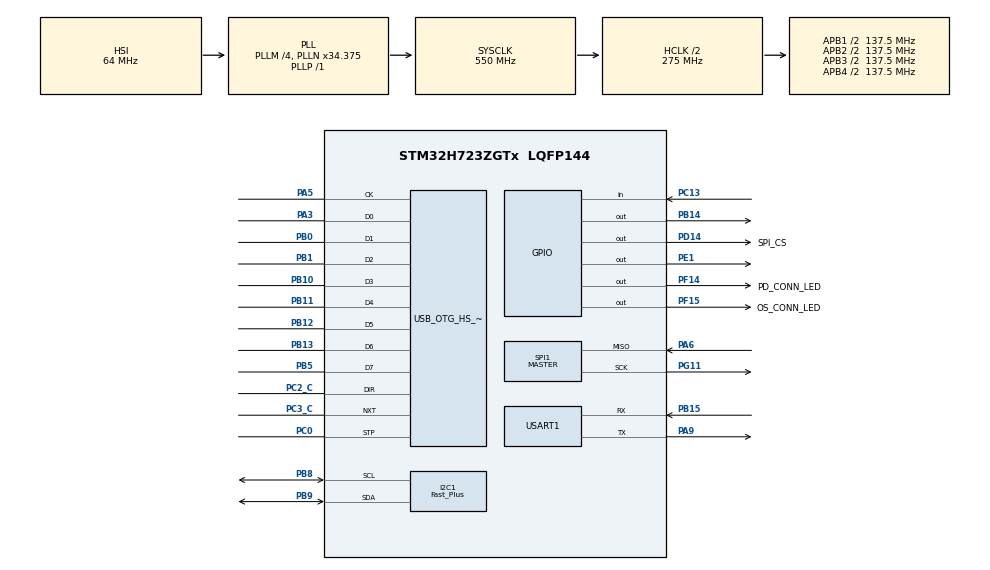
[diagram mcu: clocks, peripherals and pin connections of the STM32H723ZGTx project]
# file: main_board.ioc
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CORTEX_M7.default_mode_Activation=1
Dma.Request0=SPI1_RX
Dma.SPI1_RX.0.Direction=DMA_PERIPH_TO_MEMORY
Dma.SPI1_RX.0.EventEnable=DISABLE
Dma.SPI1_RX.0.FIFOMode=DMA_FIFOMODE_DISABLE
Dma.SPI1_RX.0.Instance=DMA1_Stream0
Dma.SPI1_RX.0.MemDataAlignment=DMA_MDATAALIGN_HALFWORD
Dma.SPI1_RX.0.MemInc=DMA_MINC_ENABLE
Dma.SPI1_RX.0.Mode=DMA_NORMAL
Dma.SPI1_RX.0.PeriphDataAlignment=DMA_PDATAALIGN_HALFWORD
Dma.SPI1_RX.0.PeriphInc=DMA_PINC_DISABLE
Dma.SPI1_RX.0.Polarity=HAL_DMAMUX_REQ_GEN_RISING
Dma.SPI1_RX.0.Priority=DMA_PRIORITY_VERY_HIGH
Dma.SPI1_RX.0.RequestNumber=1
Dma.SPI1_RX.0.SignalID=NONE
Dma.SPI1_RX.0.SyncEnable=DISABLE
Dma.SPI1_RX.0.SyncPolarity=HAL_DMAMUX_SYNC_NO_EVENT
Dma.SPI1_RX.0.SyncRequestNumber=1
Dma.SPI1_RX.0.SyncSignalID=NONE
FREERTOS.Tasks01=defaultTask,24,256,StartDefaultTask,Default,NULL,Dynamic,NULL,NULL
FREERTOS.configMINIMAL_STACK_SIZE=256
FREERTOS.configTOTAL_HEAP_SIZE=32768
FREERTOS.configUSE_NEWLIB_REENTRANT=1
I2C1.I2C_Speed_Mode=I2C_Fast_Plus
I2C1.NoStretchMode=I2C_NOSTRETCH_DISABLE
I2C1.Timing=0x00601A5C
Mcu.Family=STM32H7
Mcu.Name=STM32H723ZGTx
Mcu.Package=LQFP144
NUCLEO-H723ZG.BUTTON=1
NUCLEO-H723ZG.LD1=true
NUCLEO-H723ZG.LD2=true
NUCLEO-H723ZG.LD3=true
NUCLEO-H723ZG.VCP=true
NVIC.DMA1_Stream0_IRQn=true\:5\:0\:false\:false\:true\:true\:false\:true\:true
NVIC.EXTI15_10_IRQn=true\:5\:0\:false\:false\:true\:true\:false\:true\:true
NVIC.OTG_HS_IRQn=true\:5\:0\:false\:false\:true\:true\:true\:true\:true
NVIC.PriorityGroup=NVIC_PRIORITYGROUP_4
NVIC.SPI1_IRQn=true\:5\:0\:false\:false\:true\:true\:false\:true\:true
NVIC.TIM6_DAC_IRQn=true\:15\:0\:false\:false\:true\:false\:false\:true\:true
NVIC.TimeBase=TIM6_DAC_IRQn
NVIC.TimeBaseIP=TIM6
PA13(JTMS/SWDIO).GPIO_Label=SWDIO
PA13(JTMS/SWDIO).Signal=DEBUG_JTMS-SWDIO
PA14(JTCK/SWCLK).GPIO_Label=SWCLK
PA14(JTCK/SWCLK).Signal=DEBUG_JTCK-SWCLK
PA3.GPIO_Speed_Only_High=GPIO_SPEED_FREQ_VERY_HIGH
PA3.Mode=Device_HS
PA3.Signal=USB_OTG_HS_ULPI_D0
PA5.GPIO_Speed_Only_High=GPIO_SPEED_FREQ_VERY_HIGH
PA5.Mode=Device_HS
PA5.Signal=USB_OTG_HS_ULPI_CK
PA6.GPIO_Speed=GPIO_SPEED_FREQ_VERY_HIGH
PA6.Mode=RX_Only_Simplex_Unidirect_Master
PA6.Signal=SPI1_MISO
PA9.Mode=Asynchronous
PA9.Signal=USART1_TX
PB0.GPIO_Speed_Only_High=GPIO_SPEED_FREQ_VERY_HIGH
PB0.Mode=Device_HS
PB0.Signal=USB_OTG_HS_ULPI_D1
PB1.GPIO_Speed_Only_High=GPIO_SPEED_FREQ_VERY_HIGH
PB1.Mode=Device_HS
PB1.Signal=USB_OTG_HS_ULPI_D2
PB10.GPIO_Speed_Only_High=GPIO_SPEED_FREQ_VERY_HIGH
PB10.Mode=Device_HS
PB10.Signal=USB_OTG_HS_ULPI_D3
PB11.GPIO_Speed_Only_High=GPIO_SPEED_FREQ_VERY_HIGH
PB11.Mode=Device_HS
PB11.Signal=USB_OTG_HS_ULPI_D4
PB12.GPIO_Speed_Only_High=GPIO_SPEED_FREQ_VERY_HIGH
PB12.Mode=Device_HS
PB12.Signal=USB_OTG_HS_ULPI_D5
PB13.GPIO_Speed_Only_High=GPIO_SPEED_FREQ_VERY_HIGH
PB13.Mode=Device_HS
PB13.Signal=USB_OTG_HS_ULPI_D6
PB14.Signal=GPIO_Output
PB15.Mode=Asynchronous
PB15.Signal=USART1_RX
PB5.GPIO_Speed_Only_High=GPIO_SPEED_FREQ_VERY_HIGH
PB5.Mode=Device_HS
PB5.Signal=USB_OTG_HS_ULPI_D7
PB8.GPIO_Pu=GPIO_PULLUP
PB8.GPIO_Speed=GPIO_SPEED_FREQ_MEDIUM
PB8.Mode=I2C
PB8.Signal=I2C1_SCL
PB9.GPIO_Pu=GPIO_PULLUP
PB9.GPIO_Speed=GPIO_SPEED_FREQ_MEDIUM
PB9.Mode=I2C
PB9.Signal=I2C1_SDA
PC0.GPIO_Speed_Only_High=GPIO_SPEED_FREQ_VERY_HIGH
PC0.Mode=Device_HS
PC0.Signal=USB_OTG_HS_ULPI_STP
PC13.Signal=GPIO_Input
PC14-OSC32_IN.Signal=RCC_OSC32_IN
PC15-OSC32_OUT.Signal=RCC_OSC32_OUT
PC2_C.GPIO_Speed_Only_High=GPIO_SPEED_FREQ_VERY_HIGH
PC2_C.Mode=Device_HS
PC2_C.Signal=USB_OTG_HS_ULPI_DIR
PC3_C.GPIO_Speed_Only_High=GPIO_SPEED_FREQ_VERY_HIGH
PC3_C.Mode=Device_HS
PC3_C.Signal=USB_OTG_HS_ULPI_NXT
PD14.GPIO_Label=SPI_CS
PD14.GPIO_PuPd=GPIO_PULLUP
PD14.GPIO_Speed=GPIO_SPEED_FREQ_VERY_HIGH
PD14.PinState=GPIO_PIN_SET
PD14.Signal=GPIO_Output
PD8.Signal=USART3_TX
PD9.Signal=USART3_RX
PE1.Signal=GPIO_Output
PF14.GPIO_Label=PD_CONN_LED
PF14.Signal=GPIO_Output
PF15.GPIO_Label=OS_CONN_LED
PF15.Signal=GPIO_Output
PG11.GPIO_Speed=GPIO_SPEED_FREQ_VERY_HIGH
PG11.Mode=RX_Only_Simplex_Unidirect_Master
PG11.Signal=SPI1_SCK
ProjectManager.HeapSize=0x200
ProjectManager.StackSize=0x400
ProjectManager.TargetToolchain=STM32CubeIDE
RCC.ADCFreq_Value=608000000
RCC.APB1Freq_Value=137500000
RCC.APB2Freq_Value=137500000
RCC.APB3Freq_Value=137500000
RCC.APB4Freq_Value=137500000
RCC.CortexFreq_Value=550000000
RCC.D1PPRE=RCC_APB3_DIV2
RCC.D2PPRE1=RCC_APB1_DIV2
RCC.D2PPRE2=RCC_APB2_DIV2
RCC.D3PPRE=RCC_APB4_DIV2
RCC.DIVM1=4
RCC.DIVM2=1
RCC.DIVN1=34
RCC.DIVN2=19
RCC.DIVP1=1
RCC.DIVQ1=9
RCC.HCLKFreq_Value=275000000
RCC.HPRE=RCC_HCLK_DIV2
RCC.HSE_VALUE=8000000
RCC.PLLFRACN=3072
RCC.SYSCLKFreq_VALUE=550000000
RCC.SYSCLKSource=RCC_SYSCLKSOURCE_PLLCLK
RCC.USBCLockSelection=RCC_USBCLKSOURCE_HSI48
RCC.USBFreq_Value=48000000
SPI1.BaudRatePrescaler=SPI_BAUDRATEPRESCALER_2
SPI1.CLKPhase=SPI_PHASE_2EDGE
SPI1.CalculateBaudRate=30.555555 MBits/s
SPI1.DataSize=SPI_DATASIZE_16BIT
SPI1.Direction=SPI_DIRECTION_2LINES_RXONLY
SPI1.Mode=SPI_MODE_MASTER
SPI1.NSSPMode=SPI_NSS_PULSE_DISABLE
SPI1.VirtualType=VM_MASTER
USART1.VirtualMode-Asynchronous=VM_ASYNC
USB_OTG_HS.VirtualMode-Device_HS=Device_HS
VP_FREERTOS_VS_CMSIS_V2.Mode=CMSIS_V2
VP_MEMORYMAP_VS_MEMORYMAP.Mode=CurAppReg
VP_NUCLEO-H723ZG_VS_BSP_COMMON.Mode=COMMON
VP_SYS_VS_tim6.Mode=TIM6
board=NUCLEO-H723ZG

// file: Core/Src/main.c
/* USER CODE BEGIN Header */
/**
 ******************************************************************************
 * @file           : main.c
 * @brief          : Main program body
 ******************************************************************************
 * @attention
 *
 * Copyright (c) 2025 STMicroelectronics.
 * All rights reserved.
 *
 * This software is licensed under terms that can be found in the LICENSE file
 * in the root directory of this software component.
 * If no LICENSE file comes with this software, it is provided AS-IS.
 *
 ******************************************************************************
 */
/* USER CODE END Header */
#include "main.h"

#include "cmsis_os.h"

/* USER CODE BEGIN Includes */
#include <ctype.h>
#include <stdio.h>
#include <string.h>

#include "la_os_commands.h"
#include "packet.h"
#include "snap_master.h"
#include "snap_pd_master.h"
#include "snap_wf_master.h"
#include "tusb.h"
#include "wavetypes.h"
/* USER CODE END Includes */

/* USER CODE BEGIN PD */
#define CDC_MAIN 0
#define CDC_SIGROK 1

// Task stack sizes (in words, 4 bytes each)
#define USBD_STACK_SIZE (2048)
#define SUMP_STACK_SIZE (1024)
#define COMMAND_STACK_SIZE (1024)
/* USER CODE END PD */

COM_InitTypeDef bsp_com_init;

I2C_HandleTypeDef hi2c1;

SPI_HandleTypeDef hspi1;
DMA_HandleTypeDef hdma_spi1_rx;

UART_HandleTypeDef huart1;

PCD_HandleTypeDef hpcd_USB_OTG_HS;

/* Definitions for defaultTask */
osThreadId_t defaultTaskHandle;
const osThreadAttr_t defaultTask_attributes = {
    .name = "defaultTask",
    .stack_size = 256 * 4,
    .priority = (osPriority_t)osPriorityNormal,
};
/* USER CODE BEGIN PV */

osThreadId_t chunkTaskHandle;
osSemaphoreId_t chunkStartSemaphore;
osMutexId_t chunkRequestMutex;
osMutexId_t usb_flush_mutex;
osSemaphoreId_t processCommandSemaphore;

static volatile uint32_t num_chunks_requested = 0;
static volatile uint8_t chunk_task_running = 0;
static volatile uint8_t chunk_cdc_port = CDC_MAIN;
static volatile uint8_t chunk_cancel_requested = 0;
static volatile CommandCode chunk_command =
    COMMAND_OS_GET_CHUNK;  // track if scope or LA data requested

// FreeRTOS task handles
osThreadId_t usbTaskHandle;
osThreadId_t sumpTaskHandle;
osThreadId_t commandTaskHandle;

// Task attributes
const osThreadAttr_t usb_task_attributes = {
    .name = "usb_device",
    .stack_size = USBD_STACK_SIZE * 4,
    .priority = (osPriority_t)osPriorityRealtime7,
};

const osThreadAttr_t command_task_attributes = {
    .name = "command_handler",
    .stack_size = COMMAND_STACK_SIZE * 4,
    .priority = (osPriority_t)osPriorityHigh,
};

const osThreadAttr_t chunk_task_attr = {
    .name = "chunk_streamer",
    .stack_size = 1024 * 4,
    .priority = (osPriority_t)osPriorityAboveNormal,
};

// Mutexes for resource protection
osMutexId_t i2cMutexHandle;
osSemaphoreId_t spiSemaphoreHandle;

const osMutexAttr_t mutex_attributes = {
    .name = NULL,
    .attr_bits = osMutexRecursive | osMutexPrioInherit,
    .cb_mem = NULL,
    .cb_size = 0U};

#include "bsp/board_api.h"

size_t board_get_unique_id(uint8_t id[], size_t max_len) {
    (void)max_len;
    volatile uint32_t* stm32_uuid = (volatile uint32_t*)UID_BASE;
    uint32_t* id32 = (uint32_t*)(uintptr_t)id;
    uint8_t const len = 12;

    id32[0] = stm32_uuid[0];
    id32[1] = stm32_uuid[1];
    id32[2] = stm32_uuid[2];

    return len;
}

/* USER CODE END PV */

void SystemClock_Config(void);
static void MPU_Config(void);
static void MX_GPIO_Init(void);
static void MX_DMA_Init(void);
static void MX_USART1_UART_Init(void);
static void MX_I2C1_Init(void);
static void MX_SPI1_Init(void);
static void MX_USB_OTG_HS_PCD_Init(void);
void StartDefaultTask(void* argument);

/* USER CODE BEGIN PFP */
// FreeRTOS task functions
void usb_device_task(void* param);
void command_handler_task(void* param);

int send_example_waveform(enum WaveformType type);
/* USER CODE END PFP */

/* USER CODE BEGIN 0 */

// Invoked when device is mounted
void tud_mount_cb(void) {
    // Device mounted
}

// Invoked when device is unmounted
void tud_umount_cb(void) {
    // Device unmounted
}

// Invoked when usb bus is suspended
void tud_suspend_cb(bool remote_wakeup_en) {
    (void)remote_wakeup_en;
    // Device suspended
}

// Invoked when usb bus is resumed
void tud_resume_cb(void) {
    // Device resumed
}

struct GetChunkResponse {
    uint32_t chunk_number;  // Sequential chunk ID
    uint32_t samples_available;
    uint32_t missed_chunks;
};

uint8_t sample_buffer[SAMPLE_BUF_SIZE] __attribute__((section(".sram_d1"))) = {0};

/**
 * @brief Send OK response with optional payload data
 * @param cdc_interface: CDC interface number (CDC_MAIN or CDC_LOGIC)
 * @param data: Optional payload data (can be NULL if len is 0)
 * @param len: Length of payload data (0-255)
 */
static void send_ok_response(uint8_t cdc_interface, uint8_t* data, uint8_t len) {
    PacketResponseHeader header;
    header.start_marker = PACKET_START_MARKER_RESPONSE;
    header.status = PACKET_STATUS_OK;
    header.payload_length = len;

    osMutexAcquire(usb_flush_mutex, osWaitForever);
    // Send header
    tud_cdc_n_write(cdc_interface, (uint8_t*)&header, PACKET_HEADER_SIZE);

    // Send payload if present
    if (len > 0 && data != NULL) {
        tud_cdc_n_write(cdc_interface, data, len);
    }

    tud_cdc_n_write_flush(cdc_interface);
    osMutexRelease(usb_flush_mutex);
}

/**
 * @brief Send error response with error code
 * @param cdc_interface: CDC interface number (CDC_MAIN or CDC_LOGIC)
 * @param snap_error: SNAP error code (negative value)
 */
static void send_error_response(uint8_t cdc_interface, int8_t snap_error) {
    PacketResponseHeader header;
    header.start_marker = PACKET_START_MARKER_RESPONSE;
    header.status = snap_error_to_packet_status(snap_error);
    header.payload_length = 0;  // No payload for errors

    osMutexAcquire(usb_flush_mutex, osWaitForever);
    tud_cdc_n_write(cdc_interface, (uint8_t*)&header, PACKET_HEADER_SIZE);
    tud_cdc_n_write_flush(cdc_interface);
    osMutexRelease(usb_flush_mutex);
}

/**
 * @brief Initialize USB OTG HS peripheral hardware (clocks, GPIO, PHY)
 * Called before tusb_init() since TinyUSB DCD doesn't configure hardware
 */
static void usb_hardware_init(void) {
    GPIO_InitTypeDef GPIO_InitStruct = {0};
    RCC_PeriphCLKInitTypeDef PeriphClkInitStruct = {0};

    // Configure USB peripheral clock to use HSI48
    PeriphClkInitStruct.PeriphClockSelection = RCC_PERIPHCLK_USB;
    PeriphClkInitStruct.UsbClockSelection = RCC_USBCLKSOURCE_HSI48;
    if (HAL_RCCEx_PeriphCLKConfig(&PeriphClkInitStruct) != HAL_OK) {
        Error_Handler();
    }

    // Enable USB voltage detector
    HAL_PWREx_EnableUSBVoltageDetector();

    // Enable GPIO clocks for USB ULPI pins
    __HAL_RCC_GPIOC_CLK_ENABLE();
    __HAL_RCC_GPIOA_CLK_ENABLE();
    __HAL_RCC_GPIOB_CLK_ENABLE();

    // Configure USB_OTG_HS ULPI pins
    // PC0 -> USB_OTG_HS_ULPI_STP
    // PC2_C -> USB_OTG_HS_ULPI_DIR
    // PC3_C -> USB_OTG_HS_ULPI_NXT
    GPIO_InitStruct.Pin = GPIO_PIN_0 | GPIO_PIN_2 | GPIO_PIN_3;
    GPIO_InitStruct.Mode = GPIO_MODE_AF_PP;
    GPIO_InitStruct.Pull = GPIO_NOPULL;
    GPIO_InitStruct.Speed = GPIO_SPEED_FREQ_VERY_HIGH;
    GPIO_InitStruct.Alternate = GPIO_AF10_OTG1_HS;
    HAL_GPIO_Init(GPIOC, &GPIO_InitStruct);

    // PA3 -> USB_OTG_HS_ULPI_D0
    // PA5 -> USB_OTG_HS_ULPI_CK
    GPIO_InitStruct.Pin = GPIO_PIN_3 | GPIO_PIN_5;
    GPIO_InitStruct.Mode = GPIO_MODE_AF_PP;
    GPIO_InitStruct.Pull = GPIO_NOPULL;
    GPIO_InitStruct.Speed = GPIO_SPEED_FREQ_VERY_HIGH;
    GPIO_InitStruct.Alternate = GPIO_AF10_OTG1_HS;
    HAL_GPIO_Init(GPIOA, &GPIO_InitStruct);

    // PB0, PB1, PB5, PB10-13 -> USB_OTG_HS_ULPI_D1-D7
    GPIO_InitStruct.Pin = GPIO_PIN_0 | GPIO_PIN_1 | GPIO_PIN_10 | GPIO_PIN_11 |
                          GPIO_PIN_12 | GPIO_PIN_13 | GPIO_PIN_5;
    GPIO_InitStruct.Mode = GPIO_MODE_AF_PP;
    GPIO_InitStruct.Pull = GPIO_NOPULL;
    GPIO_InitStruct.Speed = GPIO_SPEED_FREQ_VERY_HIGH;
    GPIO_InitStruct.Alternate = GPIO_AF10_OTG1_HS;
    HAL_GPIO_Init(GPIOB, &GPIO_InitStruct);

    // Enable USB OTG HS peripheral and ULPI clocks
    __HAL_RCC_USB_OTG_HS_CLK_ENABLE();
    __HAL_RCC_USB_OTG_HS_ULPI_CLK_ENABLE();

    // Enable USB OTG HS interrupt with priority 5 (FreeRTOS compatible)
    HAL_NVIC_SetPriority(OTG_HS_IRQn, 5, 0);
    HAL_NVIC_EnableIRQ(OTG_HS_IRQn);
}

/**
 * @brief USB Device Task - Highest Priority
 * Runs tud_task() which processes all USB events
 * CRITICAL: Must be initialized AFTER FreeRTOS starts, not before
 */
void usb_device_task(void* param) {
    (void)param;

    // Initialize USB hardware (clocks, GPIO, PHY) before TinyUSB init
    // TinyUSB DCD driver only configures USB peripheral registers, not clocks/GPIO
    usb_hardware_init();

    tusb_rhport_init_t dev_init = {.role = TUSB_ROLE_DEVICE, .speed = TUSB_SPEED_HIGH};
    tusb_init(BOARD_TUD_RHPORT, &dev_init);

    // Wait a bit for USB to stabilize
    osDelay(100);

    // RTOS forever loop
    while (1) {
        tud_task();

        // flush CDC writes
        for (uint8_t itf = 0; itf < CFG_TUD_CDC; itf++) {
            tud_cdc_n_write_flush(itf);
        }

        osDelay(1);
    }
}

/**
 * @brief USB speed test - streams test data to measure throughput
 * @param test_size_kb: Size of test data in KB
 * @param cdc_port: CDC interface to use (CDC_MAIN or CDC_LOGIC)
 * @return SNAP_OK on success, negative on error
 */
static int usb_speed_test(uint32_t test_size_kb, uint8_t cdc_port) {
    uint32_t total_bytes = test_size_kb * 1024;

    // Send response header with metadata (total bytes to be sent)
    PacketResponseHeader header = {.start_marker = PACKET_START_MARKER_RESPONSE,
                                   .status = PACKET_STATUS_OK,
                                   .payload_length = sizeof(total_bytes)};

    tud_cdc_n_write(cdc_port, (uint8_t*)&header, PACKET_HEADER_SIZE);
    tud_cdc_n_write(cdc_port, (uint8_t*)&total_bytes, sizeof(total_bytes));
    tud_cdc_n_write_flush(cdc_port);

    // Pre-fill sample_buffer with test pattern (incrementing 0x00-0xFF)
    // This avoids recreating the pattern on every iteration
    const uint32_t PATTERN_SIZE = 4096;  // Use 4KB pattern (reuse existing buffer)
    for (uint32_t i = 0; i < PATTERN_SIZE && i < SAMPLE_BUF_SIZE; i++) {
        sample_buffer[i] = (uint8_t)(i & 0xFF);
    }

    // Stream test data - tight loop with NO osDelay()
    uint32_t bytes_sent = 0;
    while (bytes_sent < total_bytes) {
        uint32_t bytes_remaining = total_bytes - bytes_sent;

        // Try to write as much as TinyUSB will accept
        // Use pattern buffer, wrapping if needed
        uint32_t bytes_to_send =
            (bytes_remaining < PATTERN_SIZE) ? bytes_remaining : PATTERN_SIZE;

        uint32_t written = tud_cdc_n_write(cdc_port, sample_buffer, bytes_to_send);
        bytes_sent += written;

        // Process USB events - NO delay!
        tud_task();
    }

    tud_cdc_n_write_flush(cdc_port);

    // Wait for transmission complete - tight loop, NO osDelay()
    const uint32_t MIN_AVAILABLE = 64;
    while (tud_cdc_n_write_available(cdc_port) < MIN_AVAILABLE) {
        tud_task();
    }

    return SNAP_OK;
}

void chunk_stream_task(void* param) {
    (void)param;

    while (1) {
        // Sleep until work arrives
        osSemaphoreAcquire(chunkStartSemaphore, osWaitForever);

        chunk_cancel_requested = 0;
        osMutexAcquire(chunkRequestMutex, osWaitForever);
        chunk_task_running = 1;
        osMutexRelease(chunkRequestMutex);

        while (1) {
            if (chunk_cancel_requested) {
                // Drain request queue
                osMutexAcquire(chunkRequestMutex, osWaitForever);
                num_chunks_requested = 0;
                osMutexRelease(chunkRequestMutex);

                chunk_cancel_requested = 0;
                break;
            }

            uint32_t chunks_to_send = 0;

            // Safely pull counter under mutex
            osMutexAcquire(chunkRequestMutex, osWaitForever);
            chunks_to_send = num_chunks_requested;
            num_chunks_requested = 0;
            osMutexRelease(chunkRequestMutex);

            if (chunks_to_send == 0) {
                break;
            }

            // Blocking stream execution
            command_get_chunk(chunks_to_send, chunk_cdc_port, chunk_command,
                              &chunk_cancel_requested);
        }

        osMutexAcquire(chunkRequestMutex, osWaitForever);
        chunk_task_running = 0;
        osMutexRelease(chunkRequestMutex);
    }
}

void tud_cdc_rx_cb(uint8_t itf) { osSemaphoreRelease(processCommandSemaphore); }

/**
 * @brief Command Handler Task
 * Handles waveform generation and other module commands
 * Uses mutexes to protect I2C/SPI resources
 */
void command_handler_task(void* param) {
    (void)param;

    // Wait for USB and system to be ready
    osDelay(300);

    uint8_t cdc_to_poll[2] = {CDC_MAIN, CDC_SIGROK};

    // RTOS forever loop
    while (1) {
        osSemaphoreAcquire(processCommandSemaphore, osWaitForever);
        for (size_t i = 0; i < sizeof(cdc_to_poll); i++) {
            // Check CDC_MAIN for commands
            if (tud_cdc_n_available(cdc_to_poll[i])) {
                // Ensure we have a full header before attempting to parse
                if (tud_cdc_n_available(cdc_to_poll[i]) < PACKET_HEADER_SIZE) {
                    osSemaphoreRelease(processCommandSemaphore);
                    osDelay(1);
                    continue;
                }

                uint8_t header_buf[PACKET_HEADER_SIZE] = {0};
                uint32_t header_count =
                    tud_cdc_n_read(cdc_to_poll[i], header_buf, PACKET_HEADER_SIZE);

                // Validate header
                if (header_count < PACKET_HEADER_SIZE ||
                    header_buf[0] != PACKET_START_MARKER_REQUEST) {
                    tud_cdc_n_read_flush(cdc_to_poll[i]);
                    continue;
                }

                PacketRequestHeader header;
                header.start_marker = header_buf[0];
                header.command = header_buf[1];
                header.payload_length = header_buf[2];

                if (header.payload_length > PACKET_MAX_PAYLOAD_SIZE) {
                    send_error_response(cdc_to_poll[i], SNAP_ERR_INVALID_SIZE);
                    tud_cdc_n_read_flush(cdc_to_poll[i]);
                    continue;
                }

                // Read payload data if any
                uint8_t payload_buf[PACKET_MAX_PAYLOAD_SIZE] = {0};
                if (header.payload_length > 0) {
                    // Wait for payload to be available
                    uint32_t wait_count = 0;
                    while (tud_cdc_n_available(cdc_to_poll[i]) < header.payload_length &&
                           wait_count < 100) {
                        osDelay(1);
                        wait_count++;
                    }

                    if (tud_cdc_n_available(cdc_to_poll[i]) >= header.payload_length) {
                        uint32_t payload_count = tud_cdc_n_read(
                            cdc_to_poll[i], payload_buf, header.payload_length);
                        if (payload_count < header.payload_length) {
                            send_error_response(cdc_to_poll[i], SNAP_ERR_TIMEOUT);
                            tud_cdc_n_read_flush(cdc_to_poll[i]);
                            continue;
                        }
                    } else {
                        // Timeout waiting for payload
                        send_error_response(cdc_to_poll[i], SNAP_ERR_TIMEOUT);
                        tud_cdc_n_read_flush(cdc_to_poll[i]);
                        continue;
                    }
                }

                // Parse command from header
                CommandCode cmd = (CommandCode)header.command;
                int result = 0;

                switch (cmd) {
                    case DUMMY_COMMAND: {
                        continue;  // no op
                    }
                    case COMMAND_PING: {
                        uint8_t pong[] = {'0' + cdc_to_poll[i], 'p', 'o', 'n', 'g'};
                        send_ok_response(cdc_to_poll[i], (uint8_t*)pong, sizeof(pong));
                        continue;
                    }

                    case COMMAND_SET_WAVEFORM:
                        // Parse WaveForm struct from payload
                        if (header.payload_length >= sizeof(struct WaveForm)) {
                            struct WaveForm wave;
                            memcpy(&wave, payload_buf, sizeof(struct WaveForm));
                            result = send_waveform(&wave);
                        } else {
                            result = SNAP_ERR_INVALID_SIZE;
                        }
                        break;

                    case COMMAND_LA_CONFIG:
                        // Parse frequency from payload (4 bytes)
                        if (chunk_task_running) {
                            result = SNAP_ERR_BUSY;
                            break;
                        }
                        if (header.payload_length >= 4) {
                            uint32_t freq;
                            memcpy(&freq, payload_buf, sizeof(uint32_t));
                            result = command_la_config(freq);
                        } else {
                            result = SNAP_ERR_INVALID_SIZE;
                        }
                        break;

                    case COMMAND_LA_START_CONTINUOUS:
                        if (chunk_task_running) {
                            result = SNAP_ERR_BUSY;
                            break;
                        }
                        result = command_la_start_continuous();
                        break;

                    case COMMAND_LA_STOP_CONTINUOUS:
                        chunk_cancel_requested = 1;
                        result = command_la_stop_continuous();
                        break;

                    case COMMAND_LA_GET_CHUNK:
                    case COMMAND_OS_GET_CHUNK: {
                        if (chunk_task_running) {
                            result = SNAP_ERR_BUSY;
                            break;
                        }
                        uint32_t num_chunks = 1;

                        if (header.payload_length >= 4) {
                            memcpy(&num_chunks, payload_buf, sizeof(uint32_t));
                        }

                        // Select mode
                        chunk_cdc_port = cdc_to_poll[i];
                        chunk_command = (CommandCode)header.command;

                        // Safely accumulate requests
                        osMutexAcquire(chunkRequestMutex, osWaitForever);
                        num_chunks_requested += num_chunks;
                        osMutexRelease(chunkRequestMutex);

                        osSemaphoreRelease(chunkStartSemaphore);

                        continue;  // Response already sent by command_la_get_chunk in the
                                   // chunk task
                    }
                        // OS COMMANDS
                    case COMMAND_OS_CONFIG:
                        if (chunk_task_running) {
                            result = SNAP_ERR_BUSY;
                            break;
                        }
                        // Parse frequency from payload (4 bytes)
                        if (header.payload_length >= 4) {
                            uint32_t freq;
                            memcpy(&freq, payload_buf, sizeof(uint32_t));
                            result = command_os_config(freq);
                        } else {
                            result = SNAP_ERR_INVALID_SIZE;
                        }
                        break;

                    case COMMAND_OS_START_CONTINUOUS:

                        if (chunk_task_running) {
                            result = SNAP_ERR_BUSY;
                            break;
                        }
                        result = command_os_start_continuous();
                        break;

                    case COMMAND_OS_STOP_CONTINUOUS:
                        chunk_cancel_requested = 1;
                        result = command_os_stop_continuous();
                        break;

                        // PD COMMANDS
                    case COMMAND_PD_ALIVE: {
                        bool usb_conn = false;
                        result = pd_alive(&usb_conn);
                        HAL_GPIO_WritePin(PD_CONN_LED_GPIO_Port, PD_CONN_LED_Pin,
                                          result == SNAP_OK);

                        if (result == SNAP_OK) {
                            // Send OK response with usb_conn as payload (1 byte)
                            send_ok_response(cdc_to_poll[i], &usb_conn, 1);
                            continue;
                        }
                        break;
                    }

                    case COMMAND_PD_QUERY_CAPABS: {
                        PSUCapabilities capabs;
                        result = pd_query_capabs(&capabs);

                        if (result == SNAP_OK) {
                            // Send OK response with PDO data as payload
                            size_t data_size =
                                capabs.num_entries * sizeof(SRC_SPRandEPR_PDO_Fields);
                            send_ok_response(cdc_to_poll[i], (uint8_t*)capabs.pdo_entries,
                                             (uint8_t)data_size);
                            continue;
                        }
                        break;
                    }

                    case COMMAND_PD_QUERY_STATUS: {
                        PSUStatus status;
                        result = pd_query_status(&status);

                        if (result == SNAP_OK) {
                            // Send OK response with PSUStatus struct as payload
                            send_ok_response(cdc_to_poll[i], (uint8_t*)&status,
                                             sizeof(PSUStatus));
                            continue;
                        }
                        break;
                    }

                    case COMMAND_PD_REQUEST_OUTPUT: {
                        // Parse PSUOutputCommand from payload
                        if (header.payload_length >= sizeof(PSUOutputCommand)) {
                            PSUOutputCommand psu_cmd;
                            memcpy(&psu_cmd, payload_buf, sizeof(PSUOutputCommand));
                            result = pd_request_output(&psu_cmd);
                        } else {
                            result = SNAP_ERR_INVALID_SIZE;
                        }
                        break;
                    }

                    case COMMAND_USB_SPEED_TEST: {
                        if (chunk_task_running) {
                            result = SNAP_ERR_BUSY;
                            break;
                        }
                        // Parse test size from payload (4 bytes)
                        if (header.payload_length >= 4) {
                            uint32_t test_size_kb;
                            memcpy(&test_size_kb, payload_buf, sizeof(uint32_t));

                            result = usb_speed_test(test_size_kb, cdc_to_poll[i]);
                            if (result == SNAP_OK) {
                                continue;  // Response already sent by usb_speed_test
                            }
                        } else {
                            result = SNAP_ERR_INVALID_SIZE;
                        }
                        break;
                    }

                    default:
                        // Unknown command
                        result = SNAP_ERR_INVALID_SIZE;
                        break;
                }

                // Send response with new packet format
                if (result == SNAP_OK) {
                    send_ok_response(cdc_to_poll[i], NULL, 0);
                } else {
                    send_error_response(cdc_to_poll[i], result);
                }
            }
        }
        osDelay(1);
    }
}

/* USER CODE END 0 */

int main(void) {

    /* MPU Configuration--------------------------------------------------------*/
    MPU_Config();

    /* MCU Configuration--------------------------------------------------------*/

    /* Reset of all peripherals, Initializes the Flash interface and the Systick. */
    HAL_Init();

    /* Configure the system clock */
    SystemClock_Config();

    /* Initialize all configured peripherals */
    MX_GPIO_Init();
    MX_DMA_Init();
    MX_USART1_UART_Init();
    MX_I2C1_Init();
    MX_SPI1_Init();
    MX_USB_OTG_HS_PCD_Init();
    /* USER CODE BEGIN 2 */
    // CRITICAL: Do NOT call tud_init() here!
    // USB initialization MUST happen inside usb_device_task AFTER FreeRTOS starts
    // Calling it here will cause race conditions with USB interrupts and FreeRTOS
    /* USER CODE END 2 */

    /* Init scheduler */
    osKernelInitialize();

    /* USER CODE BEGIN RTOS_MUTEX */
    // Create mutexes for resource protection
    usb_flush_mutex = osMutexNew(NULL);
    i2cMutexHandle = osMutexNew(&mutex_attributes);
    spiSemaphoreHandle = osSemaphoreNew(1, 1, NULL);

    if (i2cMutexHandle == NULL || spiSemaphoreHandle == NULL) {
        Error_Handler();  // Mutex creation failed
    }
    processCommandSemaphore = osSemaphoreNew(1, 0, NULL);

    chunkStartSemaphore = osSemaphoreNew(1, 0, NULL);
    chunkRequestMutex = osMutexNew(NULL);
    /* USER CODE END RTOS_MUTEX */

    /* Create the thread(s) */
    /* creation of defaultTask */
    defaultTaskHandle = osThreadNew(StartDefaultTask, NULL, &defaultTask_attributes);

    /* USER CODE BEGIN RTOS_THREADS */
    // Create FreeRTOS tasks in priority order
    // CRITICAL: USB task MUST be created so USB init happens after scheduler starts
    usbTaskHandle = osThreadNew(usb_device_task, NULL, &usb_task_attributes);
    if (usbTaskHandle == NULL) {
        Error_Handler();  // USB task creation failed
    }

    commandTaskHandle = osThreadNew(command_handler_task, NULL, &command_task_attributes);
    if (commandTaskHandle == NULL) {
        Error_Handler();  // Command task creation failed
    }

    chunkTaskHandle = osThreadNew(chunk_stream_task, NULL, &chunk_task_attr);

    if (chunkStartSemaphore == NULL || chunkRequestMutex == NULL ||
        chunkTaskHandle == NULL) {
        Error_Handler();  // Command task creation failed
    }

    // Initialize Logic Analyzer Streaming
    la_stream_init();
    /* USER CODE END RTOS_THREADS */

    /* Initialize leds */
    BSP_LED_Init(LED_GREEN);
    BSP_LED_Init(LED_YELLOW);
    BSP_LED_Init(LED_RED);

    /* Initialize USER push-button, will be used to trigger an interrupt each time it's
     * pressed.*/
    BSP_PB_Init(BUTTON_USER, BUTTON_MODE_EXTI);

    /* Initialize COM1 port (115200, 8 bits (7-bit data + 1 stop bit), no parity */
    bsp_com_init.BaudRate = 115200;
    bsp_com_init.WordLength = COM_WORDLENGTH_8B;
    bsp_com_init.StopBits = COM_STOPBITS_1;
    bsp_com_init.Parity = COM_PARITY_NONE;
    bsp_com_init.HwFlowCtl = COM_HWCONTROL_NONE;
    if (BSP_COM_Init(COM1, &bsp_com_init) != BSP_ERROR_NONE) {
        Error_Handler();
    }

    /* Start scheduler */
    osKernelStart();

    /* We should never get here as control is now taken by the scheduler */

    /* Infinite loop */
    /* USER CODE BEGIN WHILE */
    // Code never reaches here after osKernelStart()
    // All functionality is now in FreeRTOS tasks
    while (1) {
        /* USER CODE END WHILE */

    }
}

void SystemClock_Config(void) {
    RCC_OscInitTypeDef RCC_OscInitStruct = {0};
    RCC_ClkInitTypeDef RCC_ClkInitStruct = {0};

    /** Supply configuration update enable
     */
    HAL_PWREx_ConfigSupply(PWR_LDO_SUPPLY);

    /** Configure the main internal regulator output voltage
     */
    __HAL_PWR_VOLTAGESCALING_CONFIG(PWR_REGULATOR_VOLTAGE_SCALE0);

    while (!__HAL_PWR_GET_FLAG(PWR_FLAG_VOSRDY)) {
    }

    /** Initializes the RCC Oscillators according to the specified parameters
     * in the RCC_OscInitTypeDef structure.
     */
    RCC_OscInitStruct.OscillatorType = RCC_OSCILLATORTYPE_HSI48 | RCC_OSCILLATORTYPE_HSI;
    RCC_OscInitStruct.HSIState = RCC_HSI_DIV1;
    RCC_OscInitStruct.HSICalibrationValue = 64;
    RCC_OscInitStruct.HSI48State = RCC_HSI48_ON;
    RCC_OscInitStruct.PLL.PLLState = RCC_PLL_ON;
    RCC_OscInitStruct.PLL.PLLSource = RCC_PLLSOURCE_HSI;
    RCC_OscInitStruct.PLL.PLLM = 4;
    RCC_OscInitStruct.PLL.PLLN = 34;
    RCC_OscInitStruct.PLL.PLLP = 1;
    RCC_OscInitStruct.PLL.PLLQ = 9;
    RCC_OscInitStruct.PLL.PLLR = 2;
    RCC_OscInitStruct.PLL.PLLRGE = RCC_PLL1VCIRANGE_3;
    RCC_OscInitStruct.PLL.PLLVCOSEL = RCC_PLL1VCOWIDE;
    RCC_OscInitStruct.PLL.PLLFRACN = 3072;
    if (HAL_RCC_OscConfig(&RCC_OscInitStruct) != HAL_OK) {
        Error_Handler();
    }

    /** Initializes the CPU, AHB and APB buses clocks
     */
    RCC_ClkInitStruct.ClockType = RCC_CLOCKTYPE_HCLK | RCC_CLOCKTYPE_SYSCLK |
                                  RCC_CLOCKTYPE_PCLK1 | RCC_CLOCKTYPE_PCLK2 |
                                  RCC_CLOCKTYPE_D3PCLK1 | RCC_CLOCKTYPE_D1PCLK1;
    RCC_ClkInitStruct.SYSCLKSource = RCC_SYSCLKSOURCE_PLLCLK;
    RCC_ClkInitStruct.SYSCLKDivider = RCC_SYSCLK_DIV1;
    RCC_ClkInitStruct.AHBCLKDivider = RCC_HCLK_DIV2;
    RCC_ClkInitStruct.APB3CLKDivider = RCC_APB3_DIV2;
    RCC_ClkInitStruct.APB1CLKDivider = RCC_APB1_DIV2;
    RCC_ClkInitStruct.APB2CLKDivider = RCC_APB2_DIV2;
    RCC_ClkInitStruct.APB4CLKDivider = RCC_APB4_DIV2;

    if (HAL_RCC_ClockConfig(&RCC_ClkInitStruct, FLASH_LATENCY_3) != HAL_OK) {
        Error_Handler();
    }
}

static void MX_I2C1_Init(void) {

    hi2c1.Instance = I2C1;
    hi2c1.Init.Timing = 0x00601A5C;
    hi2c1.Init.OwnAddress1 = 0;
    hi2c1.Init.AddressingMode = I2C_ADDRESSINGMODE_7BIT;
    hi2c1.Init.DualAddressMode = I2C_DUALADDRESS_DISABLE;
    hi2c1.Init.OwnAddress2 = 0;
    hi2c1.Init.OwnAddress2Masks = I2C_OA2_NOMASK;
    hi2c1.Init.GeneralCallMode = I2C_GENERALCALL_DISABLE;
    hi2c1.Init.NoStretchMode = I2C_NOSTRETCH_DISABLE;
    if (HAL_I2C_Init(&hi2c1) != HAL_OK) {
        Error_Handler();
    }

    /** Configure Analogue filter
     */
    if (HAL_I2CEx_ConfigAnalogFilter(&hi2c1, I2C_ANALOGFILTER_ENABLE) != HAL_OK) {
        Error_Handler();
    }

    /** Configure Digital filter
     */
    if (HAL_I2CEx_ConfigDigitalFilter(&hi2c1, 0) != HAL_OK) {
        Error_Handler();
    }

    /** I2C Enable Fast Mode Plus
     */
    HAL_I2CEx_EnableFastModePlus(I2C_FASTMODEPLUS_I2C1);
}

static void MX_SPI1_Init(void) {

    /* SPI1 parameter configuration*/
    hspi1.Instance = SPI1;
    hspi1.Init.Mode = SPI_MODE_MASTER;
    hspi1.Init.Direction = SPI_DIRECTION_2LINES_RXONLY;
    hspi1.Init.DataSize = SPI_DATASIZE_16BIT;
    hspi1.Init.CLKPolarity = SPI_POLARITY_LOW;
    hspi1.Init.CLKPhase = SPI_PHASE_2EDGE;
    hspi1.Init.NSS = SPI_NSS_SOFT;
    hspi1.Init.BaudRatePrescaler = SPI_BAUDRATEPRESCALER_2;
    hspi1.Init.FirstBit = SPI_FIRSTBIT_MSB;
    hspi1.Init.TIMode = SPI_TIMODE_DISABLE;
    hspi1.Init.CRCCalculation = SPI_CRCCALCULATION_DISABLE;
    hspi1.Init.CRCPolynomial = 0x0;
    hspi1.Init.NSSPMode = SPI_NSS_PULSE_DISABLE;
    hspi1.Init.NSSPolarity = SPI_NSS_POLARITY_LOW;
    hspi1.Init.FifoThreshold = SPI_FIFO_THRESHOLD_01DATA;
    hspi1.Init.TxCRCInitializationPattern = SPI_CRC_INITIALIZATION_ALL_ZERO_PATTERN;
    hspi1.Init.RxCRCInitializationPattern = SPI_CRC_INITIALIZATION_ALL_ZERO_PATTERN;
    hspi1.Init.MasterSSIdleness = SPI_MASTER_SS_IDLENESS_00CYCLE;
    hspi1.Init.MasterInterDataIdleness = SPI_MASTER_INTERDATA_IDLENESS_00CYCLE;
    hspi1.Init.MasterReceiverAutoSusp = SPI_MASTER_RX_AUTOSUSP_DISABLE;
    hspi1.Init.MasterKeepIOState = SPI_MASTER_KEEP_IO_STATE_DISABLE;
    hspi1.Init.IOSwap = SPI_IO_SWAP_DISABLE;
    if (HAL_SPI_Init(&hspi1) != HAL_OK) {
        Error_Handler();
    }
}

static void MX_USART1_UART_Init(void) {

    huart1.Instance = USART1;
    huart1.Init.BaudRate = 115200;
    huart1.Init.WordLength = UART_WORDLENGTH_8B;
    huart1.Init.StopBits = UART_STOPBITS_1;
    huart1.Init.Parity = UART_PARITY_NONE;
    huart1.Init.Mode = UART_MODE_TX_RX;
    huart1.Init.HwFlowCtl = UART_HWCONTROL_NONE;
    huart1.Init.OverSampling = UART_OVERSAMPLING_16;
    huart1.Init.OneBitSampling = UART_ONE_BIT_SAMPLE_DISABLE;
    huart1.Init.ClockPrescaler = UART_PRESCALER_DIV1;
    huart1.AdvancedInit.AdvFeatureInit = UART_ADVFEATURE_NO_INIT;
    if (HAL_UART_Init(&huart1) != HAL_OK) {
        Error_Handler();
    }
    if (HAL_UARTEx_SetTxFifoThreshold(&huart1, UART_TXFIFO_THRESHOLD_1_8) != HAL_OK) {
        Error_Handler();
    }
    if (HAL_UARTEx_SetRxFifoThreshold(&huart1, UART_RXFIFO_THRESHOLD_1_8) != HAL_OK) {
        Error_Handler();
    }
    if (HAL_UARTEx_DisableFifoMode(&huart1) != HAL_OK) {
        Error_Handler();
    }
}

static void MX_USB_OTG_HS_PCD_Init(void) {

    hpcd_USB_OTG_HS.Instance = USB_OTG_HS;
    hpcd_USB_OTG_HS.Init.dev_endpoints = 9;
    hpcd_USB_OTG_HS.Init.speed = PCD_SPEED_HIGH;
    hpcd_USB_OTG_HS.Init.dma_enable = DISABLE;
    hpcd_USB_OTG_HS.Init.phy_itface = USB_OTG_ULPI_PHY;
    hpcd_USB_OTG_HS.Init.Sof_enable = DISABLE;
    hpcd_USB_OTG_HS.Init.low_power_enable = DISABLE;
    hpcd_USB_OTG_HS.Init.lpm_enable = DISABLE;
    hpcd_USB_OTG_HS.Init.vbus_sensing_enable = DISABLE;
    hpcd_USB_OTG_HS.Init.use_dedicated_ep1 = DISABLE;
    hpcd_USB_OTG_HS.Init.use_external_vbus = DISABLE;
    if (HAL_PCD_Init(&hpcd_USB_OTG_HS) != HAL_OK) {
        Error_Handler();
    }
}

static void MX_DMA_Init(void) {
    /* DMA controller clock enable */
    __HAL_RCC_DMA1_CLK_ENABLE();

    /* DMA interrupt init */
    /* DMA1_Stream0_IRQn interrupt configuration */
    HAL_NVIC_SetPriority(DMA1_Stream0_IRQn, 5, 0);
    HAL_NVIC_EnableIRQ(DMA1_Stream0_IRQn);
}

static void MX_GPIO_Init(void) {
    GPIO_InitTypeDef GPIO_InitStruct = {0};

    /* GPIO Ports Clock Enable */
    __HAL_RCC_GPIOC_CLK_ENABLE();
    __HAL_RCC_GPIOA_CLK_ENABLE();
    __HAL_RCC_GPIOB_CLK_ENABLE();
    __HAL_RCC_GPIOF_CLK_ENABLE();
    __HAL_RCC_GPIOD_CLK_ENABLE();
    __HAL_RCC_GPIOG_CLK_ENABLE();

    /*Configure GPIO pin Output Level */
    HAL_GPIO_WritePin(GPIOF, PD_CONN_LED_Pin | OS_CONN_LED_Pin, GPIO_PIN_RESET);

    /*Configure GPIO pin Output Level */
    HAL_GPIO_WritePin(SPI_CS_GPIO_Port, SPI_CS_Pin, GPIO_PIN_SET);

    /*Configure GPIO pins : PD_CONN_LED_Pin OS_CONN_LED_Pin */
    GPIO_InitStruct.Pin = PD_CONN_LED_Pin | OS_CONN_LED_Pin;
    GPIO_InitStruct.Mode = GPIO_MODE_OUTPUT_PP;
    GPIO_InitStruct.Pull = GPIO_NOPULL;
    GPIO_InitStruct.Speed = GPIO_SPEED_FREQ_LOW;
    HAL_GPIO_Init(GPIOF, &GPIO_InitStruct);

    /*Configure GPIO pin : SPI_CS_Pin */
    GPIO_InitStruct.Pin = SPI_CS_Pin;
    GPIO_InitStruct.Mode = GPIO_MODE_OUTPUT_PP;
    GPIO_InitStruct.Pull = GPIO_PULLUP;
    GPIO_InitStruct.Speed = GPIO_SPEED_FREQ_VERY_HIGH;
    HAL_GPIO_Init(SPI_CS_GPIO_Port, &GPIO_InitStruct);

}

void StartDefaultTask(void* argument) {
    /* USER CODE BEGIN 5 */
    /* Infinite loop */
    osDelay(500);
    for (;;) {
        osDelay(1000);
    }
    /* USER CODE END 5 */
}

/* MPU Configuration */

void MPU_Config(void) {
    MPU_Region_InitTypeDef MPU_InitStruct = {0};

    /* Disables the MPU */
    HAL_MPU_Disable();

    /** Initializes and configures the Region and the memory to be protected
     */
    MPU_InitStruct.Enable = MPU_REGION_ENABLE;
    MPU_InitStruct.Number = MPU_REGION_NUMBER0;
    MPU_InitStruct.BaseAddress = 0x0;
    MPU_InitStruct.Size = MPU_REGION_SIZE_4GB;
    MPU_InitStruct.SubRegionDisable = 0x87;
    MPU_InitStruct.TypeExtField = MPU_TEX_LEVEL0;
    MPU_InitStruct.AccessPermission = MPU_REGION_NO_ACCESS;
    MPU_InitStruct.DisableExec = MPU_INSTRUCTION_ACCESS_DISABLE;
    MPU_InitStruct.IsShareable = MPU_ACCESS_SHAREABLE;
    MPU_InitStruct.IsCacheable = MPU_ACCESS_NOT_CACHEABLE;
    MPU_InitStruct.IsBufferable = MPU_ACCESS_NOT_BUFFERABLE;

    HAL_MPU_ConfigRegion(&MPU_InitStruct);
    /* Enables the MPU */
    HAL_MPU_Enable(MPU_PRIVILEGED_DEFAULT);
}

void HAL_TIM_PeriodElapsedCallback(TIM_HandleTypeDef* htim) {
    if (htim->Instance == TIM6) {
        HAL_IncTick();
    }
}

void Error_Handler(void) {
    __disable_irq();
    while (1) {
    }
}
